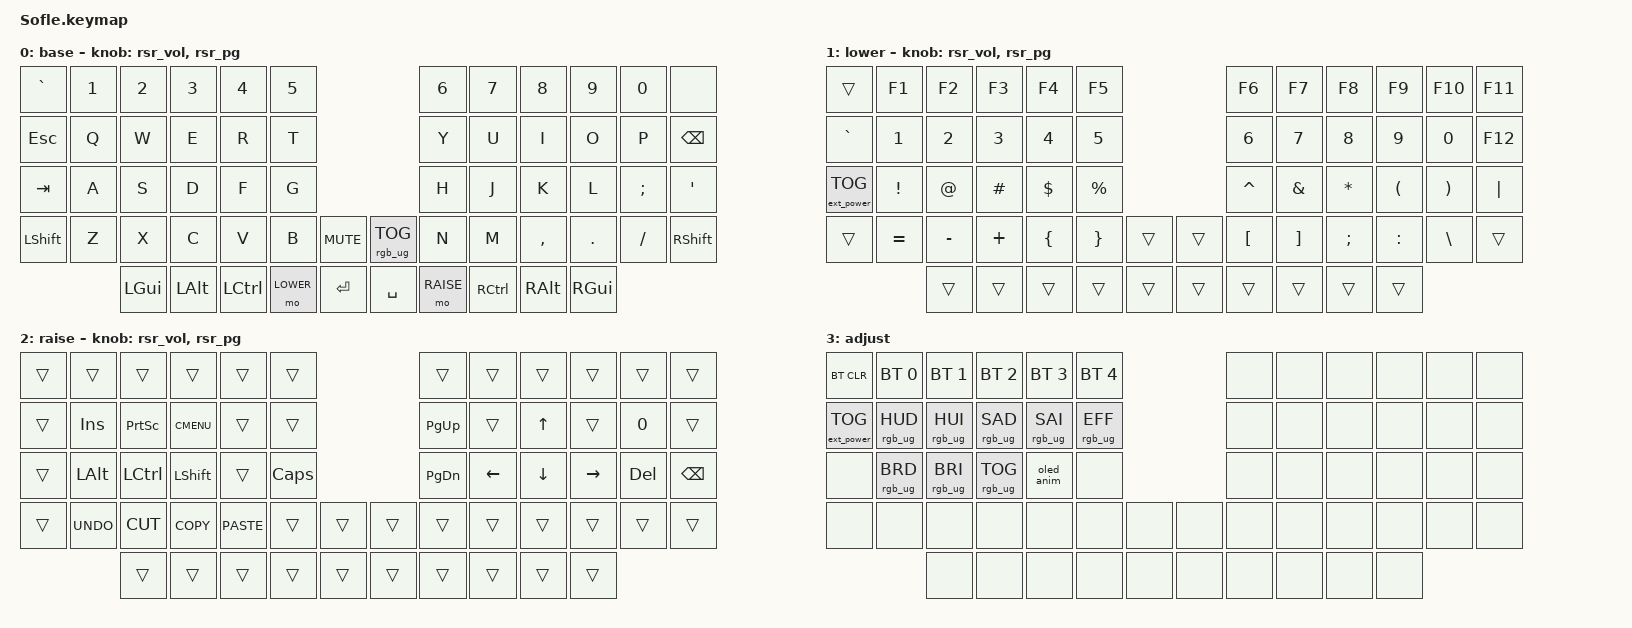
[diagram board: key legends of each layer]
/*
 * Copyright (c) 2020 The ZMK Contributors
 *
 * SPDX-License-Identifier: MIT
 */

#include <behaviors.dtsi>
#include <dt-bindings/zmk/keys.h>
#include <dt-bindings/zmk/bt.h>
#include <dt-bindings/zmk/rgb.h>
#include <dt-bindings/zmk/ext_power.h>
#include <behaviors/runtime-sensor-rotate.dtsi>

#define BASE 0
#define LOWER 1
#define RAISE 2
#define ADJUST 3

/ {
    behaviors {
        // Dial esquerdo: volume por padrao (editavel no DYA Studio)
        rsr_vol: rsr_vol {
            compatible = "zmk,behavior-runtime-sensor-rotate";
            #sensor-binding-cells = <0>;
            tap-ms = <5>;
            cw-binding = <&kp C_VOL_UP>;
            ccw-binding = <&kp C_VOL_DN>;
        };
        // Troca o estilo da animacao do OLED (Equalizador, Anel, Estrela, Nenhuma).
        // Nome com no maximo 8 caracteres: o comportamento pode ser chamado em periferico.
        oled_anim: oledanim {
            compatible = "sofle,behavior-oled-anim";
            #binding-cells = <0>;
            display-name = "OLED Animation";
        };
        // Dial direito: PgUp/PgDn por padrao (editavel no DYA Studio)
        rsr_pg: rsr_pg {
            compatible = "zmk,behavior-runtime-sensor-rotate";
            #sensor-binding-cells = <0>;
            tap-ms = <5>;
            cw-binding = <&kp PG_UP>;
            ccw-binding = <&kp PG_DN>;
        };
    };

   // Activate ADJUST layer by pressing raise and lower
    conditional_layers {
        compatible = "zmk,conditional-layers";
        adjust_layer {
            if-layers = <LOWER RAISE>;
            then-layer = <ADJUST>;
        };
    };

    keymap {
        compatible = "zmk,keymap";

        default_layer {
            display-name = "base";
// ------------------------------------------------------------------------------------------------------------
// |   `   |  1  |  2  |  3   |  4   |  5   |                   |  6   |  7    |  8    |  9   |   0   |       |
// |  ESC  |  Q  |  W  |  E   |  R   |  T   |                   |  Y   |  U    |  I    |  O   |   P   | BKSPC |
// |  TAB  |  A  |  S  |  D   |  F   |  G   |                   |  H   |  J    |  K    |  L   |   ;   |   '   |
// | SHIFT |  Z  |  X  |  C   |  V   |  B   |  MUTE  |  |       |  N   |  M    |  ,    |  .   |   /   | SHIFT |
//               | GUI | ALT  | CTRL | LOWER|  ENTER |  | SPACE | RAISE| CTRL  | ALT   | GUI  |
            bindings = <
&kp GRAVE &kp N1 &kp N2   &kp N3   &kp N4    &kp N5                                     &kp N6 &kp N7    &kp N8    &kp N9   &kp N0   &none
&kp ESC   &kp Q  &kp W    &kp E    &kp R     &kp T                                      &kp Y  &kp U     &kp I     &kp O    &kp P    &kp BSPC
&kp TAB   &kp A  &kp S    &kp D    &kp F     &kp G                                      &kp H  &kp J     &kp K     &kp L    &kp SEMI &kp SQT
&kp LSHFT &kp Z  &kp X    &kp C    &kp V     &kp B      &kp C_MUTE &rgb_ug RGB_TOG      &kp N  &kp M     &kp COMMA &kp DOT  &kp FSLH &kp RSHFT
                 &kp LGUI &kp LALT &kp LCTRL &mo LOWER  &kp RET              &kp SPACE  &mo RAISE  &kp RCTRL &kp RALT  &kp RGUI
            >;

            sensor-bindings = <&rsr_vol &rsr_pg>;
        };

        lower_layer {
            display-name = "lower";
// TODO: Some binds are waiting for shifted keycode support.
// ------------------------------------------------------------------------------------------------------------
// |       |  F1 |  F2 |  F3  |  F4  |  F5  |                   |  F6  |  F7   |  F8   |  F9  |  F10  |  F11  |
// |   `   |  1  |  2  |  3   |  4   |  5   |                   |  6   |  7    |  8    |  9   |   0   |  F12  |
// |       |  !  |  @  |  #   |  $   |  %   |                   |  ^   |  &    |  *    |  (   |   )   |   |   |
// |       |  =  |  -  |  +   |  {   |  }   |        |  |       |  [   |  ]    |  ;    |  :   |   \   |       |
//               |     |      |      |      |        |  |       |      |       |       |      |
            bindings = <
&trans    &kp F1    &kp F2    &kp F3      &kp F4    &kp F5                    &kp F6    &kp F7   &kp F8    &kp F9    &kp F10   &kp F11
&kp GRAVE &kp N1    &kp N2    &kp N3      &kp N4    &kp N5                    &kp N6    &kp N7   &kp N8    &kp N9    &kp N0    &kp F12
&ext_power EP_TOG    &kp EXCL  &kp AT    &kp HASH    &kp DLLR  &kp PRCNT                 &kp CARET &kp AMPS &kp ASTRK &kp LPAR  &kp RPAR  &kp PIPE
&trans    &kp EQUAL &kp MINUS &kp PLUS &kp LBRC  &kp RBRC   &trans &trans  &kp LBKT  &kp RBKT &kp SEMI  &kp COLON &kp BSLH  &trans
                    &trans    &trans      &trans    &trans     &trans &trans  &trans    &trans   &trans    &trans
            >;

            sensor-bindings = <&rsr_vol &rsr_pg>;
        };

        raise_layer {
            display-name = "raise";
// ------------------------------------------------------------------------------------------------------------
// |       |      |      |       |       |      |                |      |      |       |      |       |       |
// |       | INS  | PSCR | GUI   |       |      |                | PGUP |      |   ^   |      |       |       |
// |       | ALT  | CTRL | SHIFT |       | CAPS |                | PGDN |   <- |   v   |  ->  |  DEL  | BKSPC |
// |       | UNDO | CUT  | COPY  | PASTE |      |      |  |      |      |      |       |      |       |       |
//                |      |       |       |      |      |  |      |      |      |       |      |
            bindings = <
&trans    &trans       &trans       &trans       &trans       &trans                        &trans    &trans    &trans   &trans    &trans  &trans
&trans     &kp INS      &kp PSCRN    &kp K_CMENU  &trans       &trans                        &kp PG_UP &trans    &kp UP   &trans    &kp N0  &trans
&trans     &kp LALT     &kp LCTRL    &kp LSHFT    &trans       &kp CLCK                      &kp PG_DN &kp LEFT  &kp DOWN &kp RIGHT &kp DEL &kp BSPC
&trans     &kp K_UNDO   &kp K_CUT    &kp K_COPY   &kp K_PASTE  &trans        &trans  &trans  &trans    &trans    &trans   &trans    &trans  &trans
                        &trans       &trans       &trans       &trans        &trans  &trans  &trans    &trans    &trans   &trans
            >;

            sensor-bindings = <&rsr_vol &rsr_pg>;
        };

        adjust_layer {
// ----------------------------------------------------------------------------------------------------------------------------
// | BTCLR  |  BT1    |  BT2    |   BT3   |   BT4   |   BT5   |                  |      |      |       |      |       |       |
// | EXTPWR | RGB_HUD | RGB_HUI | RGB_SAD | RGB_SAI | RGB_EFF |                  |      |      |       |      |       |       |
// |        | RGB_BRD | RGB_BRI | RGB_TOG | OLEDANIM|         |                  |      |      |       |      |       |       |
// |        |         |         |         |         |         | RGB_TOG | |      |      |      |       |      |       |       |
//                    |         |         |         |         |         | |      |      |      |       |      |
            display-name = "adjust";
            bindings = <
&bt BT_CLR        &bt BT_SEL 0    &bt BT_SEL 1    &bt BT_SEL 2    &bt BT_SEL 3    &bt BT_SEL 4                            &none &none &none &none &none &none
&ext_power EP_TOG &rgb_ug RGB_HUD &rgb_ug RGB_HUI &rgb_ug RGB_SAD &rgb_ug RGB_SAI &rgb_ug RGB_EFF                         &none &none &none &none &none &none
&none             &rgb_ug RGB_BRD &rgb_ug RGB_BRI &rgb_ug RGB_TOG &oled_anim      &none                                   &none &none &none &none &none &none
&none             &none           &none           &none           &none           &none            &none &none  &none &none &none &none &none &none
                                  &none           &none           &none           &none            &none           &none  &none &none &none &none
            >;
        };
        extra1 {
            status = "reserved";
        };
        extra2 {
            status = "reserved";
        };
        extra3 {
            status = "reserved";
        };
        extra4 {
            status = "reserved";
        };

    };
};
